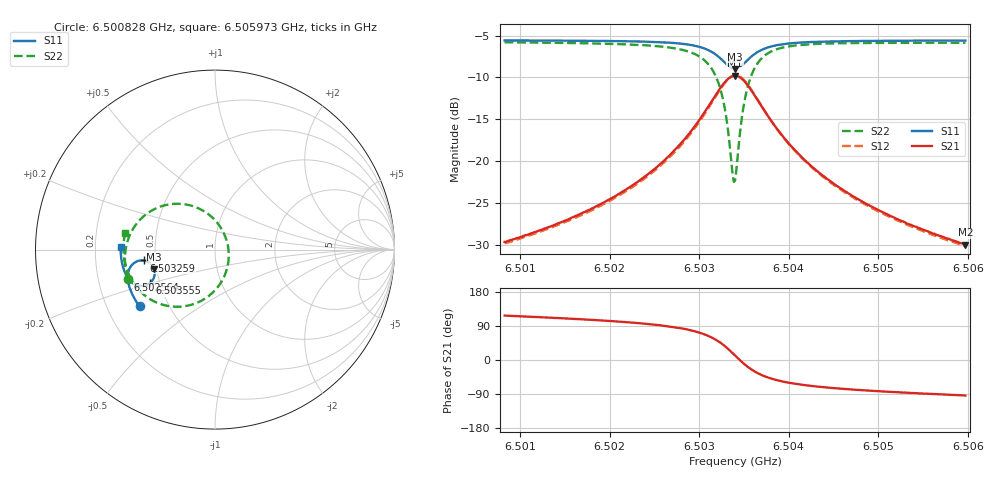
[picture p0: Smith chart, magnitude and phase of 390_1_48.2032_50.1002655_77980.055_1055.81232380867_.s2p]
#  HZ  S  RI  R  50.00
! Rohde & Schwarz Vector Network Analyzer
! Rohde-Schwarz,ZNB20-2Port,1311601062101988,3.16
! Created: UTC 3/20/2024, 11:53:34 AM
! freq[Hz]  re:S11  im:S11  re:S21  im:S21  re:S12  im:S12  re:S22  im:S22
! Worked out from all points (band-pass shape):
!   401 points, 6.500828 GHz to 6.505973 GHz, reference 50 ohm
!   highest |S21| = -9.79 dB at 6.503401 GHz (marker M1); lowest = -30.0 dB at 6.505973 GHz (marker M2)
!   |S21| within 3 dB of the highest: 6.503144 GHz to 6.503658 GHz (514.1 kHz wide, 0.0079 % of centre)
!   lowest |S11| = -9.0 dB at 6.503401 GHz (marker M3), VSWR 2.11, Z = 24.2 - j6.07 ohm
!   |S11| at or under -10 dB: nowhere
!   |S22| runs from -22.5 to -5.8 dB; largest |S21 - S12| = 0.011
!   S11 on the Smith chart (normalised r, x): 6.500828 GHz: 0.34, -0.30; 6.502564 GHz: 0.33, -0.15; 6.503259 GHz: 0.43, -0.06; 6.503555 GHz: 0.44, -0.20; 6.505973 GHz: 0.31, +0.01
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6.500828e9  -0.4206 -0.3167  -0.015 0.0292  -0.0134 0.0292  -0.486 -0.1654
6.5016898e9  -0.4585 -0.254  -0.0145 0.0465  -0.0121 0.0461  -0.5012 -0.0757
6.50214e9  -0.4749 -0.2149  -0.012 0.0642  -0.00906 0.0633  -0.4998 -0.014
6.5025516e9  -0.4853 -0.1708  -0.0032 0.0945  0.000449 0.0922  -0.4812 0.0651
6.5025645e9  -0.4856 -0.1691  -0.0027 0.0957  0.000985 0.0935  -0.4801 0.0682
6.5028089e9  -0.4849 -0.134  0.0154 0.1287  0.0192 0.1249  -0.4421 0.1377
6.502989e9  -0.4737 -0.1008  0.0497 0.1646  0.0529 0.1593  -0.3746 0.2037
6.5031562e9  -0.4393 -0.0677  0.1266 0.1981  0.1278 0.1916  -0.2336 0.2546
6.5032591e9  -0.3971 -0.0607  0.2113 0.1893  0.2113 0.1842  -0.0865 0.2275
6.5033105e9  -0.3717 -0.0692  0.2591 0.1619  0.2599 0.1574  -0.00665 0.171
6.5033748e9  -0.3452 -0.0952  0.3065 0.0994  0.3089 0.0944  0.0648 0.0506
6.5034006e9  -0.3388 -0.1095  0.3169 0.0675  0.3198 0.0618  0.0759 -0.00853
6.5034134e9  -0.3369 -0.117  0.3195 0.0511  0.3227 0.0449  0.0766 -0.0387
6.5034906e9  -0.3426 -0.1615  0.303 -0.0426  0.3051 -0.0522  0.0202 -0.2024
6.5035549e9  -0.3636 -0.1871  0.261 -0.0961  0.2601 -0.107  -0.0744 -0.2843
6.5036578e9  -0.4026 -0.2021  0.1875 -0.132  0.1823 -0.1413  -0.222 -0.3184
6.503825e9  -0.4483 -0.1924  0.1071 -0.1294  0.1002 -0.1342  -0.3673 -0.2727
6.5040051e9  -0.4753 -0.171  0.063 -0.1097  0.0571 -0.112  -0.4383 -0.2089
6.5042624e9  -0.496 -0.141  0.0336 -0.0859  0.029 -0.0866  -0.4813 -0.1375
6.5046225e9  -0.5108 -0.1038  0.0156 -0.0645  0.0123 -0.0641  -0.5028 -0.0673
6.5051242e9  -0.521 -0.0576  0.00495 -0.0471  0.00276 -0.0464  -0.5097 0.00272
6.5059732e9  -0.5257 0.0139  -0.00201 -0.0316  -0.0034 -0.0308  -0.5016 0.091
